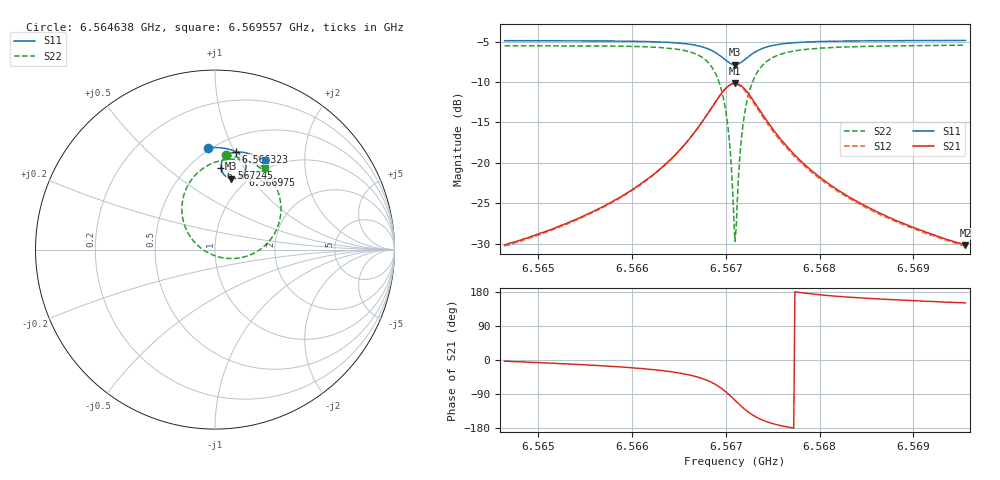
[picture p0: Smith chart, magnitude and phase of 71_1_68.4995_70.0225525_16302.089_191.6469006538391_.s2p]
#  HZ  S  RI  R  50.00
! Rohde & Schwarz Vector Network Analyzer
! Rohde-Schwarz,ZNB20-2Port,1311601062101988,3.16
! Created: UTC 3/20/2024, 4:51:44 PM
! freq[Hz]  re:S11  im:S11  re:S21  im:S21  re:S12  im:S12  re:S22  im:S22
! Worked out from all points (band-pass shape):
!   401 points, 6.564638 GHz to 6.569557 GHz, reference 50 ohm
!   highest |S21| = -10.17 dB at 6.567098 GHz (marker M1); lowest = -30.2 dB at 6.569557 GHz (marker M2)
!   |S21| within 3 dB of the highest: 6.566851 GHz to 6.567343 GHz (492.2 kHz wide, 0.00749 % of centre)
!   lowest |S11| = -7.9 dB at 6.567098 GHz (marker M3), VSWR 2.36, Z = 42.3 + j39.9 ohm
!   |S11| at or under -10 dB: nowhere
!   |S22| runs from -29.7 to -5.4 dB; largest |S21 - S12| = 0.016
!   S11 on the Smith chart (normalised r, x): 6.564638 GHz: 0.48, +0.81; 6.566323 GHz: 0.64, +1.01; 6.566975 GHz: 0.91, +0.93; 6.567245 GHz: 0.70, +0.80; 6.569557 GHz: 0.88, +1.30
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6.5646384e9  -0.0401 0.568  0.031 -0.00172  0.0305 -0.00223  0.0631 0.5255
6.5654622e9  0.029 0.5673  0.0453 -0.00992  0.0446 -0.0104  0.1459 0.5083
6.566286e9  0.11 0.5483  0.0805 -0.041  0.0793 -0.042  0.2669 0.4426
6.5663229e9  0.1143 0.5463  0.0833 -0.0444  0.082 -0.0453  0.2743 0.4363
6.5665934e9  0.1483 0.5224  0.1069 -0.0851  0.1052 -0.0869  0.336 0.3559
6.5667779e9  0.17 0.4864  0.118 -0.1487  0.115 -0.1519  0.3677 0.2331
6.5668885e9  0.1716 0.4492  0.1021 -0.2139  0.096 -0.2184  0.3413 0.1084
6.5669746e9  0.1534 0.4146  0.0532 -0.2729  0.0427 -0.2761  0.2496 -0.00036
6.5670238e9  0.1314 0.3991  0.00408 -0.2974  -0.00922 -0.2978  0.158 -0.042
6.5670484e9  0.1175 0.3946  -0.0251 -0.3033  -0.0394 -0.3015  0.104 -0.0499
6.5670853e9  0.0949 0.3937  -0.0722 -0.3013  -0.0865 -0.2957  0.0198 -0.0408
6.5670976e9  0.0874 0.3948  -0.0876 -0.2976  -0.1017 -0.2906  -0.0074 -0.0318
6.5671222e9  0.0728 0.4  -0.1171 -0.2856  -0.1297 -0.2763  -0.0577 -0.0064
6.5671468e9  0.0602 0.408  -0.1431 -0.2685  -0.1539 -0.257  -0.1009 0.0278
6.5671713e9  0.0498 0.4183  -0.1644 -0.2475  -0.1731 -0.2349  -0.1352 0.068
6.5672082e9  0.0391 0.4358  -0.187 -0.2122  -0.1924 -0.1989  -0.1686 0.133
6.5672451e9  0.0343 0.454  -0.199 -0.1766  -0.2012 -0.1637  -0.183 0.1969
6.5673435e9  0.0405 0.4939  -0.1957 -0.0992  -0.1935 -0.0896  -0.1636 0.3312
6.567491e9  0.0679 0.5261  -0.1606 -0.0365  -0.157 -0.031  -0.0876 0.4361
6.5679214e9  0.1359 0.5437  -0.0885 0.00919  -0.0863 0.0106  0.0696 0.5026
6.5687452e9  0.2171 0.5263  -0.043 0.0158  -0.0421 0.0163  0.2024 0.488
6.5695568e9  0.2791 0.4982  -0.027 0.0151  -0.0264 0.0152  0.2792 0.4555
